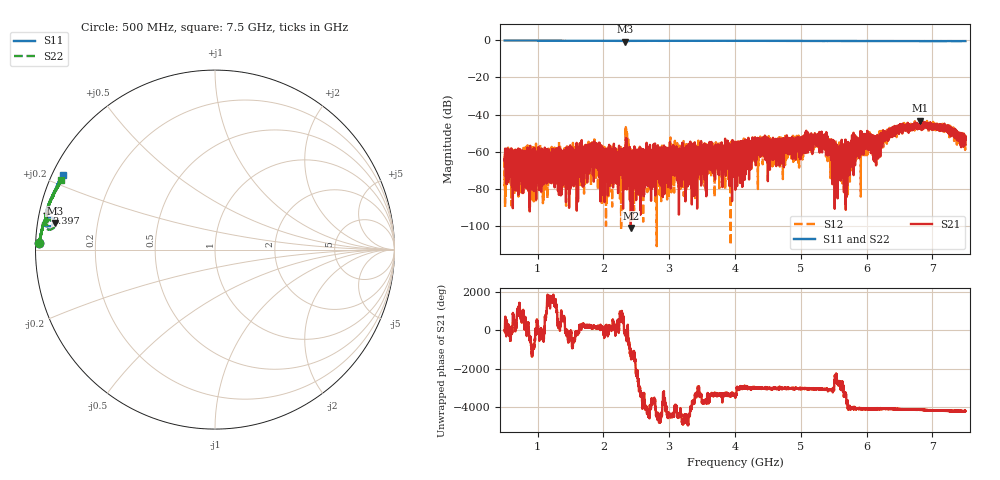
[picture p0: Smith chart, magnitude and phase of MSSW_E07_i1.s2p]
!Keysight Technologies,M9374A,MY55442783,A.12.55.05
!Date: Thursday, May 20, 2021 16:41:23
!Correction: S11(Full 2 Port(1,2))
!S21(Full 2 Port(1,2))
!S12(Full 2 Port(1,2))
!S22(Full 2 Port(1,2))
!S2P File: Measurements: S11, S21, S12, S22:
# Hz S  RI  R 50
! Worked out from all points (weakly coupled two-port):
!   7001 points, 500 MHz to 7.5 GHz, reference 50 ohm
!   highest |S21| = -43.25 dB at 6.816 GHz (marker M1); lowest = -101.0 dB at 2.417 GHz (marker M2)
!   lowest |S11| = -0.9 dB at 2.335 GHz (marker M3), VSWR 20.03, Z = 2.51 + j4.12 ohm
!   |S11| at or under -10 dB: nowhere
!   |S22| runs from -0.9 to -0.2 dB; largest |S21 - S12| = 0.0054
!   S11 on the Smith chart (normalised r, x): 500 MHz: 0.01, +0.02; 3.397 GHz: 0.02, +0.11; 7.5 GHz: 0.03, +0.23
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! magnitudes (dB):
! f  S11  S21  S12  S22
! 500 MHz  -0.2  -64.6  -63.8  -0.2
! 1.667 GHz  -0.3  -76.3  -62.0  -0.3
! 1.849 GHz  -0.3  -61.5  -59.0  -0.3
! 2.061 GHz  -0.3  -64.3  -69.4  -0.3
! 2.129 GHz  -0.3  -73.7  -67.2  -0.3
! 2.287 GHz  -0.4  -71.0  -79.1  -0.4
! 2.335 GHz  -0.9  -71.9  -49.0  -0.9
! 2.367 GHz  -0.5  -65.2  -55.0  -0.5
! 2.417 GHz  -0.4  -101.0  -67.6  -0.4
! 2.834 GHz  -0.4  -64.1  -64.4  -0.3
! 3.397 GHz  -0.4  -58.9  -57.6  -0.3
! 4 GHz  -0.4  -62.2  -57.1  -0.4
! 5.167 GHz  -0.4  -55.0  -56.2  -0.4
! 5.365 GHz  -0.4  -51.1  -53.7  -0.4
! 5.545 GHz  -0.4  -66.8  -80.1  -0.4
! 5.659 GHz  -0.4  -58.9  -58.8  -0.4
! 5.844 GHz  -0.5  -62.5  -54.6  -0.5
! 6.172 GHz  -0.5  -54.9  -56.2  -0.5
! 6.334 GHz  -0.5  -51.3  -50.7  -0.5
! 6.816 GHz  -0.5  -43.2  -45.6  -0.5
! 7.252 GHz  -0.5  -47.2  -45.9  -0.5
! 7.5 GHz  -0.5  -52.3  -55.9  -0.5
